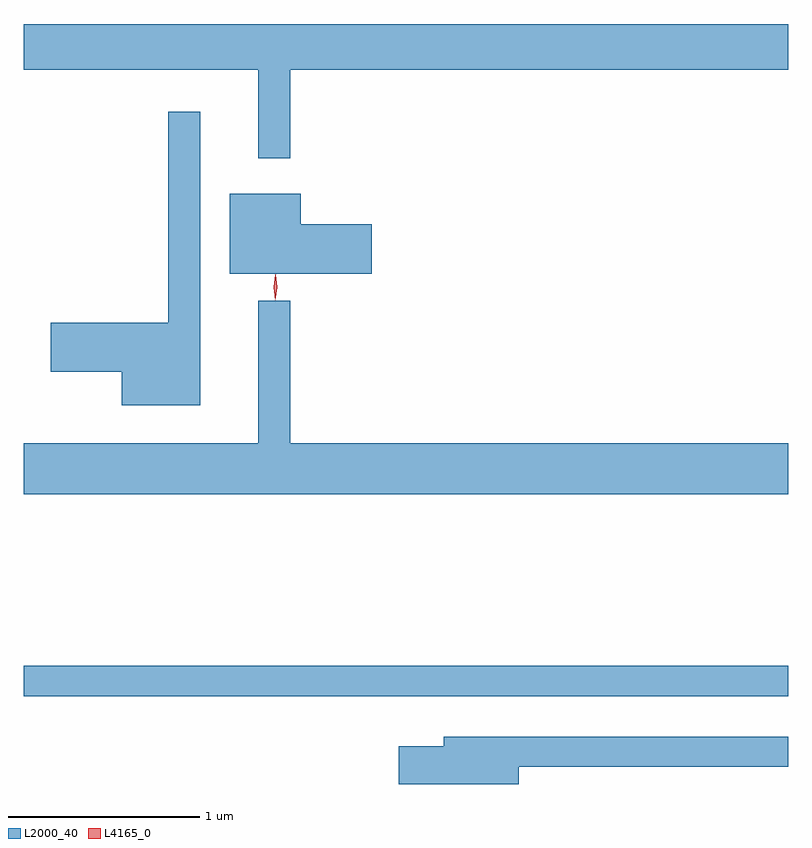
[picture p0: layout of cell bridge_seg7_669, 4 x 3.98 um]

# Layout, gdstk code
import gdstk
lib = gdstk.Library(unit=1e-6, precision=1e-09)
def R(c, l, rs):  # rectangles x0, y0, x1, y1
    for r in rs: c.add(gdstk.rectangle(r[:2], r[2:], *l))
def P(c, l, *ps):  # polygons
    for p in ps: c.add(gdstk.Polygon(p, *l))
L2000_40 = (2000, 40)
L4165_0 = (4165, 0)

bridge_seg7_669 = lib.new_cell('bridge_seg7_669')
R(bridge_seg7_669, L2000_40, [(1016.204,1713.261,1020.204,1713.419)])
P(bridge_seg7_669, L2000_40, [(1017.599,1716.536),(1020.204,1716.536),(1020.204,1716.776),(1016.204,1716.776),(1016.204,1716.536),(1017.431,1716.536),(1017.431,1716.073),(1017.599,1716.073)],
  [(1017.129,1716.318),(1016.961,1716.318),(1016.961,1715.214),(1016.346,1715.214),(1016.346,1714.956),(1016.716,1714.956),(1016.716,1714.781),(1017.129,1714.781)],
  [(1018.024,1715.729),(1017.654,1715.729),(1017.654,1715.889),(1017.281,1715.889),(1017.281,1715.471),(1018.024,1715.471)],
  [(1020.204,1714.584),(1017.599,1714.584),(1017.599,1715.328),(1017.431,1715.328),(1017.431,1714.584),(1016.204,1714.584),(1016.204,1714.316),(1020.204,1714.316)],
  [(1018.794,1712.891),(1020.204,1712.891),(1020.204,1713.049),(1018.401,1713.049),(1018.401,1712.999),(1018.166,1712.999),(1018.166,1712.801),(1018.794,1712.801)])
P(bridge_seg7_669, L4165_0, [(1017.519,1715.33),(1017.511,1715.398),(1017.521,1715.465),(1017.522,1715.466),(1017.522,1715.465),(1017.53,1715.398),(1017.52,1715.33),(1017.52,1715.33)],
  [(1017.52,1715.333),(1017.512,1715.396),(1017.522,1715.459),(1017.522,1715.46),(1017.523,1715.459),(1017.531,1715.396),(1017.521,1715.333),(1017.521,1715.333)])

lib.write_gds('bridge_seg7_669.gds')
